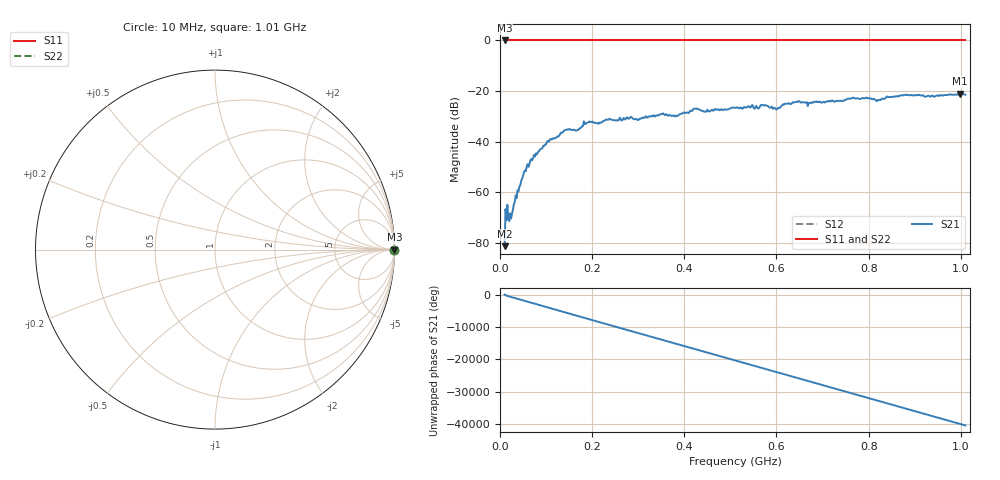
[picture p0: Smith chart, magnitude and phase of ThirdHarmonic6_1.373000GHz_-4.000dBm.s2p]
! 8/16/2025 3:33:35 PM
! C:\ANRITSUVNA\TEMP\TEMP.S2P
! CHANNEL.1
! TR.MEASUREMENT
! RAW.DATA
! RF.CORRECTION.OFF
! AVERAGING.OFF
! IF.BANDWIDTH: 5KHZ
! SWEEPTYPE:  FREQ.SWEEP(Linear)
! Reference Plane Port Info
! PORT:  PORT1  PORT2
! DISTANCE:  0  m  0  m
! TIME:  0  s  0  s
! PHASE.OFFSET:  0  deg.  0  deg.
! LOSS:  0  dB  0  dB
! REF.LOSS:  0  dB  0  dB
! REF.FREQ:  0  Hz  0  Hz
! Power Info
! POWER:  -20  dBm  -20  dBm
! EFF.POWER:  -20  dBm  -20  dBm
! SOURCE.ATTEN:  0  dB  0  dB
! TEST.ATTEN:  0  dB  0  dB
# GHZ S RI R 50.0
! FREQ.GHZ  S11RE  S11IM  S21RE  S21IM  S12RE  S12IM  S22RE  S22IM
!; PortSelection: Port_12
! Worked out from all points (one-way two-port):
!   501 points, 10 MHz to 1.01 GHz, reference 50 ohm
!   highest |S21| = -20.97 dB at 998 MHz (marker M1); lowest = -81.3 dB at 10 MHz (marker M2)
!   lowest |S11| = 0.0 dB at 10 MHz (marker M3)
!   |S11| at or under -10 dB: nowhere
!   |S22| runs from 0.0 to 0.0 dB; largest |S21 - S12| = 1.1
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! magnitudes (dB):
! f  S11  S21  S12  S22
! 10 MHz  0.0  -81.3  0.0  0.0
! 16 MHz  0.0  -64.9  0.0  0.0
! 24 MHz  0.0  -70.4  0.0  0.0
! 50 MHz  0.0  -53.6  0.0  0.0
! 70 MHz  0.0  -47.4  0.0  0.0
! 106 MHz  0.0  -39.9  0.0  0.0
! 142 MHz  0.0  -35.4  0.0  0.0
! 166 MHz  0.0  -35.6  0.0  0.0
! 178 MHz  0.0  -34.0  0.0  0.0
! 196 MHz  0.0  -32.2  0.0  0.0
! 344 MHz  0.0  -29.6  0.0  0.0
! 382 MHz  0.0  -29.7  0.0  0.0
! 424 MHz  0.0  -27.0  0.0  0.0
! 444 MHz  0.0  -28.2  0.0  0.0
! 510 MHz  0.0  -26.6  0.0  0.0
! 572 MHz  0.0  -25.7  0.0  0.0
! 602 MHz  0.0  -27.0  0.0  0.0
! 646 MHz  0.0  -24.3  0.0  0.0
! 678 MHz  0.0  -24.4  0.0  0.0
! 844 MHz  0.0  -22.4  0.0  0.0
! 998 MHz  0.0  -21.0  0.0  0.0
! 1.01 GHz  0.0  -21.4  0.0  0.0
